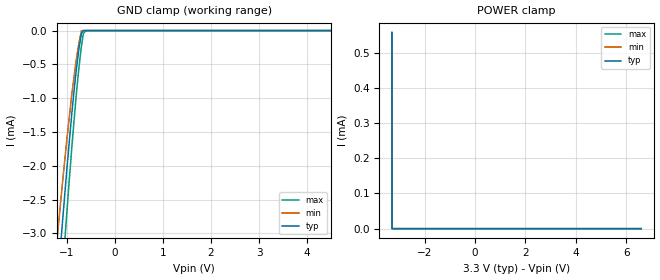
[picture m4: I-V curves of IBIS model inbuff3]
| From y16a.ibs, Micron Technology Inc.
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|   inbuff3 MODEL
[Model]   inbuff3
Model_type   Input
Vinl = 800.000mV
Vinh = 2.000V
|   typ   min   max
C_comp   2.020pF   1.450pF   2.590pF
[Voltage Range]   3.300V   3.000V   3.600V
[Temperature Range]   25.0   85.0   0.0
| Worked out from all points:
|   GND clamp passes 1 mA (typ) near -0.86 V on its own axis
[GND Clamp]
|   Voltage   I(typ)   I(min)   I(max)
-3.3V     -599.1mA   -663.4mA   -579mA
-1.24V    -4.247mA   NA         NA
-1.09V    -2.884mA   -2.294mA   NA
-990mV    -2.023mA   -1.589mA   NA
-890mV    -1.225mA   -942.1uA   -1.725mA
-850mV    -933.8uA   NA         NA
-800mV    -598.9uA   -442.2uA   -967.6uA
-740mV    -258.2uA   -173.9uA   NA
-690mV    -39.25uA   -2.037uA   NA
-650mV    0A         0A         -39.38uA
6.6V      0A         0A         0A
[POWER Clamp]
|   Voltage   I(typ)   I(min)   I(max)
-3.3V     557.6uA    551.3uA    556.9uA
-3.29V    0A         0A         0A
6.6V      0A         0A         0A
